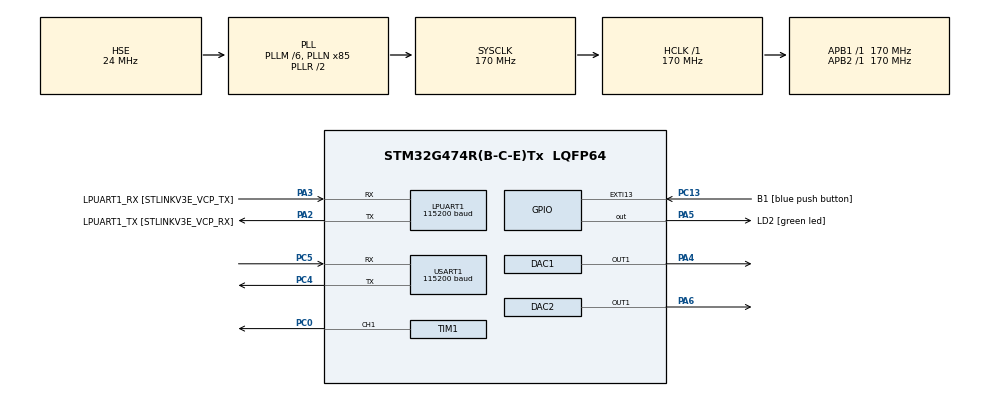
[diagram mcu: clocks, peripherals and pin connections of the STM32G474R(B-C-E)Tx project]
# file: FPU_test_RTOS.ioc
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FREERTOS.Tasks01=defaultTask,24,128,StartDefaultTask,Default,NULL,Dynamic,NULL,NULL;Zreg,8,128,StartTask02,Default,NULL,Dynamic,NULL,NULL
FREERTOS.configENABLE_FPU=1
LPUART1.BaudRate=115200
LPUART1.WordLength=UART_WORDLENGTH_8B
Mcu.Family=STM32G4
Mcu.Name=STM32G474R(B-C-E)Tx
Mcu.Package=LQFP64
NVIC.EXTI15_10_IRQn=true\:5\:0\:false\:false\:true\:true\:true\:true\:true
NVIC.PriorityGroup=NVIC_PRIORITYGROUP_4
NVIC.TIM6_DAC_IRQn=true\:15\:0\:false\:false\:true\:false\:false\:true\:true
NVIC.TimeBase=TIM6_DAC_IRQn
NVIC.TimeBaseIP=TIM6
NVIC.USART1_IRQn=true\:5\:0\:false\:false\:true\:true\:true\:true\:true
PA13.GPIO_Label=T_SWDIO
PA13.Mode=Serial_Wire
PA13.Signal=SYS_JTMS-SWDIO
PA14.GPIO_Label=T_SWCLK
PA14.Mode=Serial_Wire
PA14.Signal=SYS_JTCK-SWCLK
PA2.GPIO_Label=LPUART1_TX [STLINKV3E_VCP_RX]
PA2.Mode=Asynchronous
PA2.Signal=LPUART1_TX
PA3.GPIO_Label=LPUART1_RX [STLINKV3E_VCP_TX]
PA3.Mode=Asynchronous
PA3.Signal=LPUART1_RX
PA4.Signal=COMP_DAC11_group
PA5.GPIO_Label=LD2 [green led]
PA5.Signal=GPIO_Output
PA6.Signal=COMP_DAC21_group
PB3.GPIO_Label=T_SWO
PB3.Signal=SYS_JTDO-SWO
PC0.Signal=S_TIM1_CH1
PC13.GPIO_Label=B1 [blue push button]
PC13.GPIO_ModeDefaultEXTI=GPIO_MODE_IT_RISING_FALLING
PC13.Signal=GPXTI13
PC14-OSC32_IN.Mode=LSE-External-Oscillator
PC14-OSC32_IN.Signal=RCC_OSC32_IN
PC15-OSC32_OUT.Mode=LSE-External-Oscillator
PC15-OSC32_OUT.Signal=RCC_OSC32_OUT
PC4.Mode=Asynchronous
PC4.Signal=USART1_TX
PC5.Mode=Asynchronous
PC5.Signal=USART1_RX
PF0-OSC_IN.Mode=HSE-External-Oscillator
PF0-OSC_IN.Signal=RCC_OSC_IN
PF1-OSC_OUT.Mode=HSE-External-Oscillator
PF1-OSC_OUT.Signal=RCC_OSC_OUT
ProjectManager.HeapSize=0x200
ProjectManager.StackSize=0x400
ProjectManager.TargetToolchain=STM32CubeIDE
RCC.ADC12Freq_Value=170000000
RCC.ADC345Freq_Value=170000000
RCC.AHBFreq_Value=170000000
RCC.APB1Freq_Value=170000000
RCC.APB1TimFreq_Value=170000000
RCC.APB2Freq_Value=170000000
RCC.APB2TimFreq_Value=170000000
RCC.CortexFreq_Value=170000000
RCC.EXTERNAL_CLOCK_VALUE=12288000
RCC.HCLKFreq_Value=170000000
RCC.HSE_VALUE=24000000
RCC.HSI48_VALUE=48000000
RCC.HSI_VALUE=16000000
RCC.PLLM=RCC_PLLM_DIV6
RCC.PLLN=85
RCC.PLLSourceVirtual=RCC_PLLSOURCE_HSE
RCC.RTCClockSelection=RCC_RTCCLKSOURCE_LSE
RCC.SYSCLKFreq_VALUE=170000000
RCC.SYSCLKSource=RCC_SYSCLKSOURCE_PLLCLK
RCC.USBFreq_Value=170000000
RCC.VCOOutputFreq_Value=340000000
SH.COMP_DAC11_group.0=DAC1_OUT1,DAC_OUT1
SH.COMP_DAC21_group.0=DAC2_OUT1,DAC_OUT1
SH.S_TIM1_CH1.0=TIM1_CH1,PWM Generation1 CH1
TIM1.Channel-PWM\ Generation1\ CH1=TIM_CHANNEL_1
TIM1.Prescaler=5
TIM1.PulseNoDither_1=32768
USART1.BaudRate=115200
USART1.VirtualMode-Asynchronous=VM_ASYNC
VP_FREERTOS_VS_CMSIS_V2.Mode=CMSIS_V2
VP_SYS_VS_DBSignals.Mode=DisableDeadBatterySignals
VP_SYS_VS_tim6.Mode=TIM6
board=NUCLEO-G474RE

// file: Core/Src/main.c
/* USER CODE BEGIN Header */
/**
  ******************************************************************************
  * @file           : main.c
  * @brief          : Main program body
  ******************************************************************************
  * @attention
  *
  * Copyright (c) 2023 STMicroelectronics.
  * All rights reserved.
  *
  * This software is licensed under terms that can be found in the LICENSE file
  * in the root directory of this software component.
  * If no LICENSE file comes with this software, it is provided AS-IS.
  *
  ******************************************************************************
  */
/* USER CODE END Header */
#include "main.h"
#include "cmsis_os.h"

/* USER CODE BEGIN Includes */
#include <math.h>
#include <stdio.h>
/* USER CODE END Includes */

/* USER CODE BEGIN PD */
#define diff
#undef diff
/* USER CODE END PD */

DAC_HandleTypeDef hdac1;
DAC_HandleTypeDef hdac2;

UART_HandleTypeDef hlpuart1;
UART_HandleTypeDef huart1;

TIM_HandleTypeDef htim1;

/* Definitions for defaultTask */
osThreadId_t defaultTaskHandle;
const osThreadAttr_t defaultTask_attributes = {
  .name = "defaultTask",
  .priority = (osPriority_t) osPriorityNormal,
  .stack_size = 128 * 4
};
/* Definitions for Zreg */
osThreadId_t ZregHandle;
const osThreadAttr_t Zreg_attributes = {
  .name = "Zreg",
  .priority = (osPriority_t) osPriorityLow,
  .stack_size = 128 * 4
};
/* USER CODE BEGIN PV */
char debug_UART1[7];
#ifdef diff
// T, Tsin, and h in ms
const float Tsin = 1000;
double yi1, yi, ydi1;
double xi, K = 10, k1, k2, h = 10, T = 1000;

#else
double yi;
volatile double x[4] = {0, 0, 0, 0};
volatile double y[4] = {0, 0, 0, 0};

//int h = 100;
//const double a[4] = {0.000889251388936220, 0.00266775416680866, 0.00266775416680866, 0.000889251388936220}; //for 0.1 s
//const double b[4] = {-2.97391423226877, 3.34340028651543, -1.67900881251422, 0.316636769379053};

int h = 100;
const double a[4] = {1.06618601789899e-05, 3.19855805369698e-05, 3.19855805369698e-05, 1.06618601789899e-05}; // for 0.03 s
const double b[4] = {-3.66689728951668, 5.04494584205436, -3.08618361112405, 0.708220353467800};

//int h = 10;
//const double a[4] = {1.47535795636167e-07, 4.42607386908501e-07, 4.42607386908501e-07, 1.47535795636167e-07}; // for 0.01 s
//const double b[4] = {-3.88634859334395, 5.66418255082854, -3.66919892110506,	0.891366143906831};

//int h = 3;
//const double a[4] = {1.24399290391118e-09, 3.73197871173355e-09, 3.73197871173355e-09, 1.24399290391118e-09}; // for 0.003 s
//const double b[4] = {-3.96562224580156, 5.89733615858458, -3.89780224251756, 0.966088339686492};

//int h = 1;
//const double a[4] = {1.55354316955912e-11, 4.66062950867735e-11, 4.66062950867735e-11, 1.55354316955912e-11}; // for 0.001 s
//const double b[4] = {-3.98851361091581, 5.96559321848739, -3.96564547969521, 0.988565872247913};
#endif
/* USER CODE END PV */

void SystemClock_Config(void);
static void MX_GPIO_Init(void);
static void MX_LPUART1_UART_Init(void);
static void MX_TIM1_Init(void);
static void MX_DAC1_Init(void);
static void MX_DAC2_Init(void);
static void MX_USART1_UART_Init(void);
void StartDefaultTask(void *argument);
void StartTask02(void *argument);

int main(void)
{

  /* MCU Configuration--------------------------------------------------------*/

  /* Reset of all peripherals, Initializes the Flash interface and the Systick. */
  HAL_Init();

  /* Configure the system clock */
  SystemClock_Config();

  /* Initialize all configured peripherals */
  MX_GPIO_Init();
  MX_LPUART1_UART_Init();
  MX_TIM1_Init();
  MX_DAC1_Init();
  MX_DAC2_Init();
  MX_USART1_UART_Init();
  /* USER CODE BEGIN 2 */
  HAL_DAC_Start(&hdac1, DAC_CHANNEL_1);
  HAL_DAC_Start(&hdac2, DAC_CHANNEL_1);

//  k1 = exp(-h / T);
//  k2 = (1 - exp(-h / T) * K);
#ifdef diff
  k1 = exp(-h/T);
  k2 = (1 - exp(-h/T))*K;
#endif

  /* USER CODE END 2 */

  /* Init scheduler */
  osKernelInitialize();

  /* Create the thread(s) */
  /* creation of defaultTask */
  defaultTaskHandle = osThreadNew(StartDefaultTask, NULL, &defaultTask_attributes);

  /* creation of Zreg */
  ZregHandle = osThreadNew(StartTask02, NULL, &Zreg_attributes);

  /* Start scheduler */
  osKernelStart();

  /* We should never get here as control is now taken by the scheduler */
  /* Infinite loop */
  while (1)
  {

  }
}

void SystemClock_Config(void)
{
  RCC_OscInitTypeDef RCC_OscInitStruct = {0};
  RCC_ClkInitTypeDef RCC_ClkInitStruct = {0};

  /** Configure the main internal regulator output voltage
  */
  HAL_PWREx_ControlVoltageScaling(PWR_REGULATOR_VOLTAGE_SCALE1_BOOST);

  /** Initializes the RCC Oscillators according to the specified parameters
  * in the RCC_OscInitTypeDef structure.
  */
  RCC_OscInitStruct.OscillatorType = RCC_OSCILLATORTYPE_HSE;
  RCC_OscInitStruct.HSEState = RCC_HSE_ON;
  RCC_OscInitStruct.PLL.PLLState = RCC_PLL_ON;
  RCC_OscInitStruct.PLL.PLLSource = RCC_PLLSOURCE_HSE;
  RCC_OscInitStruct.PLL.PLLM = RCC_PLLM_DIV6;
  RCC_OscInitStruct.PLL.PLLN = 85;
  RCC_OscInitStruct.PLL.PLLP = RCC_PLLP_DIV2;
  RCC_OscInitStruct.PLL.PLLQ = RCC_PLLQ_DIV2;
  RCC_OscInitStruct.PLL.PLLR = RCC_PLLR_DIV2;
  if (HAL_RCC_OscConfig(&RCC_OscInitStruct) != HAL_OK)
  {
    Error_Handler();
  }

  /** Initializes the CPU, AHB and APB buses clocks
  */
  RCC_ClkInitStruct.ClockType = RCC_CLOCKTYPE_HCLK|RCC_CLOCKTYPE_SYSCLK
                              |RCC_CLOCKTYPE_PCLK1|RCC_CLOCKTYPE_PCLK2;
  RCC_ClkInitStruct.SYSCLKSource = RCC_SYSCLKSOURCE_PLLCLK;
  RCC_ClkInitStruct.AHBCLKDivider = RCC_SYSCLK_DIV1;
  RCC_ClkInitStruct.APB1CLKDivider = RCC_HCLK_DIV1;
  RCC_ClkInitStruct.APB2CLKDivider = RCC_HCLK_DIV1;

  if (HAL_RCC_ClockConfig(&RCC_ClkInitStruct, FLASH_LATENCY_4) != HAL_OK)
  {
    Error_Handler();
  }
}

static void MX_DAC1_Init(void)
{

  DAC_ChannelConfTypeDef sConfig = {0};

  /** DAC Initialization
  */
  hdac1.Instance = DAC1;
  if (HAL_DAC_Init(&hdac1) != HAL_OK)
  {
    Error_Handler();
  }

  /** DAC channel OUT1 config
  */
  sConfig.DAC_HighFrequency = DAC_HIGH_FREQUENCY_INTERFACE_MODE_AUTOMATIC;
  sConfig.DAC_DMADoubleDataMode = DISABLE;
  sConfig.DAC_SignedFormat = DISABLE;
  sConfig.DAC_SampleAndHold = DAC_SAMPLEANDHOLD_DISABLE;
  sConfig.DAC_Trigger = DAC_TRIGGER_NONE;
  sConfig.DAC_Trigger2 = DAC_TRIGGER_NONE;
  sConfig.DAC_OutputBuffer = DAC_OUTPUTBUFFER_ENABLE;
  sConfig.DAC_ConnectOnChipPeripheral = DAC_CHIPCONNECT_EXTERNAL;
  sConfig.DAC_UserTrimming = DAC_TRIMMING_FACTORY;
  if (HAL_DAC_ConfigChannel(&hdac1, &sConfig, DAC_CHANNEL_1) != HAL_OK)
  {
    Error_Handler();
  }

}

static void MX_DAC2_Init(void)
{

  DAC_ChannelConfTypeDef sConfig = {0};

  /** DAC Initialization
  */
  hdac2.Instance = DAC2;
  if (HAL_DAC_Init(&hdac2) != HAL_OK)
  {
    Error_Handler();
  }

  /** DAC channel OUT1 config
  */
  sConfig.DAC_HighFrequency = DAC_HIGH_FREQUENCY_INTERFACE_MODE_AUTOMATIC;
  sConfig.DAC_DMADoubleDataMode = DISABLE;
  sConfig.DAC_SignedFormat = DISABLE;
  sConfig.DAC_SampleAndHold = DAC_SAMPLEANDHOLD_DISABLE;
  sConfig.DAC_Trigger = DAC_TRIGGER_NONE;
  sConfig.DAC_Trigger2 = DAC_TRIGGER_NONE;
  sConfig.DAC_OutputBuffer = DAC_OUTPUTBUFFER_ENABLE;
  sConfig.DAC_ConnectOnChipPeripheral = DAC_CHIPCONNECT_EXTERNAL;
  sConfig.DAC_UserTrimming = DAC_TRIMMING_FACTORY;
  if (HAL_DAC_ConfigChannel(&hdac2, &sConfig, DAC_CHANNEL_1) != HAL_OK)
  {
    Error_Handler();
  }

}

static void MX_LPUART1_UART_Init(void)
{

  hlpuart1.Instance = LPUART1;
  hlpuart1.Init.BaudRate = 115200;
  hlpuart1.Init.WordLength = UART_WORDLENGTH_8B;
  hlpuart1.Init.StopBits = UART_STOPBITS_1;
  hlpuart1.Init.Parity = UART_PARITY_NONE;
  hlpuart1.Init.Mode = UART_MODE_TX_RX;
  hlpuart1.Init.HwFlowCtl = UART_HWCONTROL_NONE;
  hlpuart1.Init.OneBitSampling = UART_ONE_BIT_SAMPLE_DISABLE;
  hlpuart1.Init.ClockPrescaler = UART_PRESCALER_DIV1;
  hlpuart1.AdvancedInit.AdvFeatureInit = UART_ADVFEATURE_NO_INIT;
  if (HAL_UART_Init(&hlpuart1) != HAL_OK)
  {
    Error_Handler();
  }
  if (HAL_UARTEx_SetTxFifoThreshold(&hlpuart1, UART_TXFIFO_THRESHOLD_1_8) != HAL_OK)
  {
    Error_Handler();
  }
  if (HAL_UARTEx_SetRxFifoThreshold(&hlpuart1, UART_RXFIFO_THRESHOLD_1_8) != HAL_OK)
  {
    Error_Handler();
  }
  if (HAL_UARTEx_DisableFifoMode(&hlpuart1) != HAL_OK)
  {
    Error_Handler();
  }

}

static void MX_USART1_UART_Init(void)
{

  huart1.Instance = USART1;
  huart1.Init.BaudRate = 115200;
  huart1.Init.WordLength = UART_WORDLENGTH_8B;
  huart1.Init.StopBits = UART_STOPBITS_1;
  huart1.Init.Parity = UART_PARITY_NONE;
  huart1.Init.Mode = UART_MODE_TX_RX;
  huart1.Init.HwFlowCtl = UART_HWCONTROL_NONE;
  huart1.Init.OverSampling = UART_OVERSAMPLING_16;
  huart1.Init.OneBitSampling = UART_ONE_BIT_SAMPLE_DISABLE;
  huart1.Init.ClockPrescaler = UART_PRESCALER_DIV1;
  huart1.AdvancedInit.AdvFeatureInit = UART_ADVFEATURE_NO_INIT;
  if (HAL_UART_Init(&huart1) != HAL_OK)
  {
    Error_Handler();
  }
  if (HAL_UARTEx_SetTxFifoThreshold(&huart1, UART_TXFIFO_THRESHOLD_1_8) != HAL_OK)
  {
    Error_Handler();
  }
  if (HAL_UARTEx_SetRxFifoThreshold(&huart1, UART_RXFIFO_THRESHOLD_1_8) != HAL_OK)
  {
    Error_Handler();
  }
  if (HAL_UARTEx_DisableFifoMode(&huart1) != HAL_OK)
  {
    Error_Handler();
  }

}

static void MX_TIM1_Init(void)
{

  TIM_MasterConfigTypeDef sMasterConfig = {0};
  TIM_OC_InitTypeDef sConfigOC = {0};
  TIM_BreakDeadTimeConfigTypeDef sBreakDeadTimeConfig = {0};

  htim1.Instance = TIM1;
  htim1.Init.Prescaler = 5;
  htim1.Init.CounterMode = TIM_COUNTERMODE_UP;
  htim1.Init.Period = 65535;
  htim1.Init.ClockDivision = TIM_CLOCKDIVISION_DIV1;
  htim1.Init.RepetitionCounter = 0;
  htim1.Init.AutoReloadPreload = TIM_AUTORELOAD_PRELOAD_DISABLE;
  if (HAL_TIM_PWM_Init(&htim1) != HAL_OK)
  {
    Error_Handler();
  }
  sMasterConfig.MasterOutputTrigger = TIM_TRGO_RESET;
  sMasterConfig.MasterOutputTrigger2 = TIM_TRGO2_RESET;
  sMasterConfig.MasterSlaveMode = TIM_MASTERSLAVEMODE_DISABLE;
  if (HAL_TIMEx_MasterConfigSynchronization(&htim1, &sMasterConfig) != HAL_OK)
  {
    Error_Handler();
  }
  sConfigOC.OCMode = TIM_OCMODE_PWM1;
  sConfigOC.Pulse = 32768;
  sConfigOC.OCPolarity = TIM_OCPOLARITY_HIGH;
  sConfigOC.OCNPolarity = TIM_OCNPOLARITY_HIGH;
  sConfigOC.OCFastMode = TIM_OCFAST_DISABLE;
  sConfigOC.OCIdleState = TIM_OCIDLESTATE_RESET;
  sConfigOC.OCNIdleState = TIM_OCNIDLESTATE_RESET;
  if (HAL_TIM_PWM_ConfigChannel(&htim1, &sConfigOC, TIM_CHANNEL_1) != HAL_OK)
  {
    Error_Handler();
  }
  sBreakDeadTimeConfig.OffStateRunMode = TIM_OSSR_DISABLE;
  sBreakDeadTimeConfig.OffStateIDLEMode = TIM_OSSI_DISABLE;
  sBreakDeadTimeConfig.LockLevel = TIM_LOCKLEVEL_OFF;
  sBreakDeadTimeConfig.DeadTime = 0;
  sBreakDeadTimeConfig.BreakState = TIM_BREAK_DISABLE;
  sBreakDeadTimeConfig.BreakPolarity = TIM_BREAKPOLARITY_HIGH;
  sBreakDeadTimeConfig.BreakFilter = 0;
  sBreakDeadTimeConfig.BreakAFMode = TIM_BREAK_AFMODE_INPUT;
  sBreakDeadTimeConfig.Break2State = TIM_BREAK2_DISABLE;
  sBreakDeadTimeConfig.Break2Polarity = TIM_BREAK2POLARITY_HIGH;
  sBreakDeadTimeConfig.Break2Filter = 0;
  sBreakDeadTimeConfig.Break2AFMode = TIM_BREAK_AFMODE_INPUT;
  sBreakDeadTimeConfig.AutomaticOutput = TIM_AUTOMATICOUTPUT_DISABLE;
  if (HAL_TIMEx_ConfigBreakDeadTime(&htim1, &sBreakDeadTimeConfig) != HAL_OK)
  {
    Error_Handler();
  }
  HAL_TIM_MspPostInit(&htim1);

}

static void MX_GPIO_Init(void)
{
  GPIO_InitTypeDef GPIO_InitStruct = {0};

  /* GPIO Ports Clock Enable */
  __HAL_RCC_GPIOC_CLK_ENABLE();
  __HAL_RCC_GPIOF_CLK_ENABLE();
  __HAL_RCC_GPIOA_CLK_ENABLE();
  __HAL_RCC_GPIOB_CLK_ENABLE();

  /*Configure GPIO pin Output Level */
  HAL_GPIO_WritePin(LD2_GPIO_Port, LD2_Pin, GPIO_PIN_RESET);

  /*Configure GPIO pin : B1_Pin */
  GPIO_InitStruct.Pin = B1_Pin;
  GPIO_InitStruct.Mode = GPIO_MODE_IT_RISING_FALLING;
  GPIO_InitStruct.Pull = GPIO_NOPULL;
  HAL_GPIO_Init(B1_GPIO_Port, &GPIO_InitStruct);

  /*Configure GPIO pin : LD2_Pin */
  GPIO_InitStruct.Pin = LD2_Pin;
  GPIO_InitStruct.Mode = GPIO_MODE_OUTPUT_PP;
  GPIO_InitStruct.Pull = GPIO_NOPULL;
  GPIO_InitStruct.Speed = GPIO_SPEED_FREQ_LOW;
  HAL_GPIO_Init(LD2_GPIO_Port, &GPIO_InitStruct);

  /* EXTI interrupt init*/
  HAL_NVIC_SetPriority(EXTI15_10_IRQn, 5, 0);
  HAL_NVIC_EnableIRQ(EXTI15_10_IRQn);

}

void StartDefaultTask(void *argument)
{
  /* USER CODE BEGIN 5 */
	//HAL_GPIO_TogglePin(LD2_GPIO_Port, LD2_Pin);
  /* Infinite loop */
  for(;;)
  {
#ifdef diff
		xi = sin(HAL_GetTick() * 2 * 3.14159265359 / Tsin);
		HAL_DAC_SetValue(&hdac1, DAC_CHANNEL_1, DAC_ALIGN_12B_R,
				(uint16_t) (2048 + (int16_t) (xi * 1000)));
//	HAL_DAC_SetValue(&hdac1, DAC_CHANNEL_1, DAC_ALIGN_12B_R, (uint16_t)(2000*(xi/2 + 0.5)));
#else
//	HAL_GPIO_WritePin(LD2_GPIO_Port, LD2_Pin, GPIO_PIN_SET);
		if (HAL_GetTick() < 1000) {
			HAL_DAC_SetValue(&hdac1, DAC_CHANNEL_1, DAC_ALIGN_12B_R, 0);
			x[0] = 0;
		} else {
			HAL_DAC_SetValue(&hdac1, DAC_CHANNEL_1, DAC_ALIGN_12B_R, 2000);
			x[0] = 1;
		}
#endif
		osDelay(1);
  }
  /* USER CODE END 5 */
}

void StartTask02(void *argument)
{
  /* USER CODE BEGIN StartTask02 */
  /* Infinite loop */
  for(;;)
  {
#ifdef diff
//		HAL_GPIO_TogglePin(LD2_GPIO_Port, LD2_Pin);
      yi1 = yi*k1 + k2*xi;
      yi = yi1;
      ydi1 = K*xi - yi1;

      HAL_DAC_SetValue(&hdac2, DAC_CHANNEL_1, DAC_ALIGN_12B_R, (uint16_t)(2048 + (int16_t)(-yi1*650)));

#else
	  	HAL_GPIO_WritePin(LD2_GPIO_Port, LD2_Pin, GPIO_PIN_SET);

	  yi = -b[0]*y[0] - b[1]*y[1] - b[2]*y[2] - b[3]*y[3] + a[0]*x[0] + a[1]*x[1] + a[2]*x[2]  + a[3]*x[3];

	  HAL_GPIO_WritePin(LD2_GPIO_Port, LD2_Pin, GPIO_PIN_RESET);

	  y[3] = y[2];
	  y[2] = y[1];
	  y[1] = y[0];
	  y[0] = yi;

	  x[3] = x[2];
	  x[2] = x[1];
	  x[1] = x[0];

//	  HAL_DAC_SetValue(&hdac1, DAC_CHANNEL_1, DAC_ALIGN_12B_R, (uint16_t)(4095*(sinX/2 + 0.5)));
	  HAL_DAC_SetValue(&hdac2, DAC_CHANNEL_1, DAC_ALIGN_12B_R, (uint16_t)(2000*yi));
#endif
	  osDelay(h);
  }
  /* USER CODE END StartTask02 */
}

void HAL_TIM_PeriodElapsedCallback(TIM_HandleTypeDef *htim)
{
  if (htim->Instance == TIM6) {
    HAL_IncTick();
  }
}

void Error_Handler(void)
{
  __disable_irq();
  while (1)
  {
  }
}
